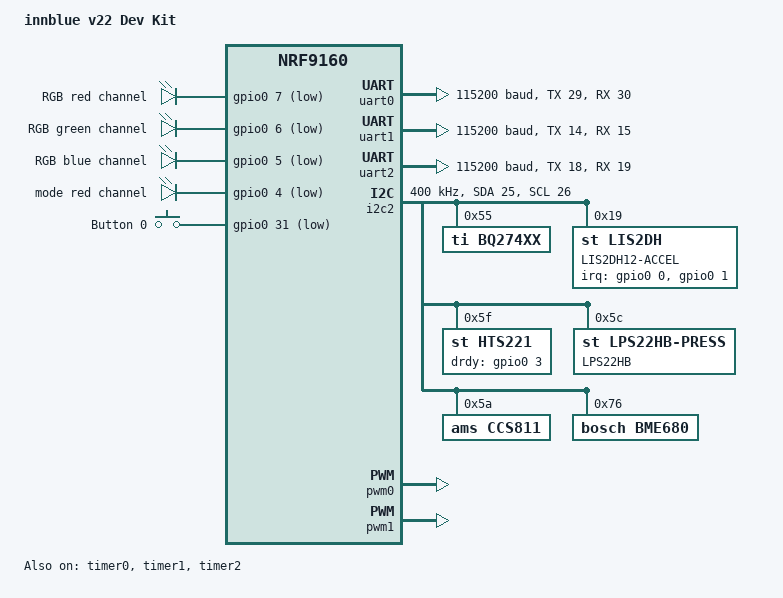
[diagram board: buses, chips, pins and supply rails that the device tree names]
/*
 * Copyright (c) 2020 InnBlue
 *
 * SPDX-License-Identifier: Apache-2.0
 */

/ {
	model = "innblue v22 Dev Kit";
	compatible = "innblue,innblue22";

	chosen {
		zephyr,console = &uart0;
		zephyr,shell-uart = &uart0;
		zephyr,uart-mcumgr = &uart0;
	};

	leds {
		compatible = "gpio-leds";
		red_led: led_1 {
			gpios = <&gpio0 7 GPIO_ACTIVE_LOW>;
			label = "RGB red channel";
		};
		green_led: led_2 {
			gpios = <&gpio0 6 GPIO_ACTIVE_LOW>;
			label = "RGB green channel";
		};
		blue_led: led_3 {
			gpios = <&gpio0 5 GPIO_ACTIVE_LOW>;
			label = "RGB blue channel";
		};

		mode_led: led_4 {
			gpios = <&gpio0 4 GPIO_ACTIVE_LOW>;
			label = "mode red channel";
		};
	};

	buttons {
		compatible = "gpio-keys";

		button0: button_0 {
			gpios = <&gpio0 31 (GPIO_PULL_UP | GPIO_ACTIVE_LOW)>;
			label = "Button 0";
		};
	};

	/* These aliases are provided for compatibility with samples */
	aliases {
		led0 = &red_led;
		led1 = &green_led;
		led2 = &blue_led;
		led3 = &mode_led;
		sw0  = &button0;
		rgb-pwm  = &pwm0;
		mode-pwm = &pwm1;
	};
};

&gpiote {
	status = "okay";
};

&gpio0 {
	status = "okay";
};

&uart0 {
	status = "okay";
	current-speed = <115200>;
	tx-pin = <29>;
	rx-pin = <30>;

};

&uart1 {
	status = "okay";
	current-speed = <115200>;
	tx-pin = <14>;
	rx-pin = <15>;
};

&uart2 {
	current-speed = <115200>;
	tx-pin = <18>;
	rx-pin = <19>;
};


&i2c2 {
	compatible = "nordic,nrf-twim";
	status = "okay";
	sda-pin = <25>;
	scl-pin = <26>;

	clock-frequency = <I2C_BITRATE_FAST>;

	bq27421@55 {
		compatible = "ti,bq274xx";
		label = "BQ274XX";
		reg = <0x55>;
		design-voltage = <3700>;
		design-capacity = <1800>;
		taper-current = <45>;
		terminate-voltage = <3000>;
	};

	lis2dh12-accel@19 {
		compatible = "st,lis2dh";
		reg = <0x19>;
		irq-gpios = <&gpio0 0 GPIO_ACTIVE_HIGH>, <&gpio0 1 GPIO_ACTIVE_HIGH>;
		label = "LIS2DH12-ACCEL";
	};

	hts221@5f {
		compatible = "st,hts221";
		reg = <0x5f>;
		drdy-gpios = <&gpio0 3 GPIO_ACTIVE_HIGH>;
		label = "HTS221";
	};

	lps22hb-press@5c {
		compatible = "st,lps22hb-press";
		reg = <0x5c>;
		label = "LPS22HB";
	};

	ccs811: ccs811@5a {
		compatible = "ams,ccs811";
		reg = <0x5a>;
		label = "CCS811";
	};

	bme680@76 {
		compatible = "bosch,bme680";
		label = "BME680";
		reg = <0x76>;
	};
};

&pwm0 {
	status = "okay";
	ch0-pin = <5>;
	ch1-pin = <6>;
	ch2-pin = <7>;
	ch0-inverted;
	ch1-inverted;
	ch2-inverted;
};

&pwm1 {
	status = "okay";
	ch0-pin = <4>;
	ch0-inverted;
	ch1-pin = <9>;
	ch1-inverted;
};

&timer0 {
	status = "okay";
};

&timer1 {
	status = "okay";
};

&timer2 {
	status = "okay";
};

&flash0 {
	/*
	 * For more information, see:
	 * https://docs.zephyrproject.org/latest/guides/dts/legacy-macros.html#legacy-flash-partitions
	 */
	partitions {
		compatible = "fixed-partitions";
		#address-cells = <1>;
		#size-cells = <1>;

		boot_partition: partition@0 {
			label = "mcuboot";
			reg = <0x00000000 0xc000>;
		};
		slot0_partition: partition@c000 {
			label = "image-0";
		};
		slot0_ns_partition: partition@3e000 {
			label = "image-0-nonsecure";
		};
		slot1_partition: partition@7e000 {
			label = "image-1";
		};
		slot1_ns_partition: partition@b0000 {
			label = "image-1-nonsecure";
		};
		scratch_partition: partition@f0000 {
			label = "image-scratch";
			reg = <0x000f0000 0xa000>;
		};
		storage_partition: partition@fa000 {
			label = "storage";
			reg = <0x000fa000 0x00006000>;
		};
	};
};

/ {
	/* SRAM allocated and used by the BSD library */
	sram0_bsd: memory@20010000 {
		compatible = "mmio-sram";
	};

	/* SRAM allocated to the Non-Secure image */
	sram0_ns: memory@20020000 {
		compatible = "mmio-sram";
	};
};

/* Include partition configuration file */
#include "nrf9160_innblue22_partition_conf.dts"
